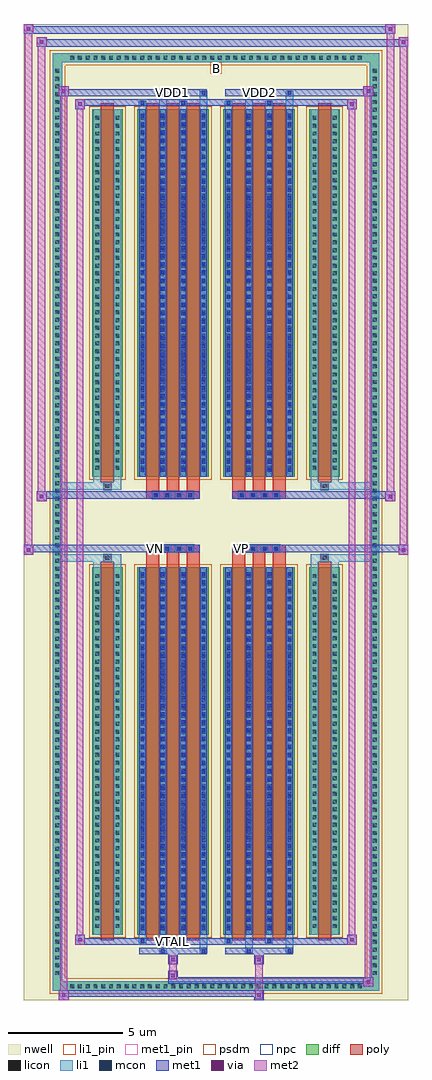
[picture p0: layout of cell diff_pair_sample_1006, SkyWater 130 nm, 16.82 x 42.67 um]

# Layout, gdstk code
import gdstk
lib = gdstk.Library(unit=1e-6, precision=5e-09)
def R(c, l, rs):  # rectangles x0, y0, x1, y1
    for r in rs: c.add(gdstk.rectangle(r[:2], r[2:], *l))
def A(c, l, x, y, w, h, nx, ny, dx, dy):  # array of equal rectangles
    R(c, l, [(x+i*dx, y+j*dy, x+i*dx+w, y+j*dy+h) for i in range(nx) for j in range(ny)])
def P(c, l, *ps):  # polygons
    for p in ps: c.add(gdstk.Polygon(p, *l))
nwell = (64, 20)
diff = (65, 20)
poly = (66, 20)
licon = (66, 44)
li1_pin = (67, 16)
li1 = (67, 20)
mcon = (67, 44)
met1_pin = (68, 16)
met1 = (68, 20)
via = (68, 44)
met2 = (69, 20)
psdm = (94, 20)
npc = (95, 20)

diff_pair_sample_1006 = lib.new_cell('diff_pair_sample_1006')
R(diff_pair_sample_1006, nwell, [(-8.41,-20.9,8.41,21.77), (-5.73,-19.09,-0.01,-0.805), (0.01,-19.09,5.73,-0.805), (-5.73,0.805,-0.01,19.09), (0.01,0.805,5.73,19.09)])
A(diff_pair_sample_1006, diff, -6.495, -20.5, 0.41, 0.41, 38, 2, 0.34, 40.59)
A(diff_pair_sample_1006, diff, -7.14, -19.925, 0.41, 0.41, 1, 117, 0, 0.34)
A(diff_pair_sample_1006, diff, 6.73, -19.925, 0.41, 0.41, 1, 117, 0, 0.34)
R(diff_pair_sample_1006, diff, [(-6.495,-20.5,6.495,-20.09), (-7.14,-19.925,-6.73,19.925), (6.73,-19.925,7.14,19.925), (-5.42,-18.045,-4.08,-1.985), (-3.44,-18.045,-0.32,-1.985), (0.32,-18.045,3.44,-1.985), (4.08,-18.045,5.42,-1.985), (-5.42,1.985,-4.08,18.045), (-3.44,1.985,-0.32,18.045), (0.32,1.985,3.44,18.045), (4.08,1.985,5.42,18.045), (-6.495,20.09,6.495,20.5)])
P(diff_pair_sample_1006, diff, [(7.14,20.5),(-7.14,20.5),(-7.14,-20.09),(-6.73,-20.09),(-6.73,20.09),(6.73,20.09),(6.73,-20.09),(-6.73,-20.09),(-7.14,-20.09),(-7.14,-20.5),(7.14,-20.5)])
A(diff_pair_sample_1006, poly, -3.05, -18.295, 0.56, 16.56, 3, 2, 0.89, 20.03)
A(diff_pair_sample_1006, poly, 0.71, -18.295, 0.56, 16.56, 3, 2, 0.89, 20.03)
A(diff_pair_sample_1006, poly, -3.05, -1.735, 0.56, 0.4, 3, 2, 0.89, 3.07)
A(diff_pair_sample_1006, poly, 0.71, -1.735, 0.56, 0.4, 3, 2, 0.89, 3.07)
A(diff_pair_sample_1006, poly, -2.795, -1.335, 0.33, 0.33, 4, 2, 0.5, 2.34)
A(diff_pair_sample_1006, poly, 0.965, -1.335, 0.33, 0.33, 4, 2, 0.5, 2.34)
R(diff_pair_sample_1006, poly, [(-5.03,-18.295,-4.47,-1.735), (4.47,-18.295,5.03,-1.735), (-4.915,-1.735,-4.585,-1.405), (-4.915,-1.735,-4.585,-1.405), (4.585,-1.735,4.915,-1.405), (4.585,-1.735,4.915,-1.405), (-3.05,-1.335,-0.71,-1.005), (0.71,-1.335,3.05,-1.005), (-3.05,1.005,-0.71,1.335), (0.71,1.005,3.05,1.335), (-4.915,1.405,-4.585,1.735), (-4.915,1.405,-4.585,1.735), (4.585,1.405,4.915,1.735), (4.585,1.405,4.915,1.735), (-5.03,1.735,-4.47,18.295), (4.47,1.735,5.03,18.295)])
A(diff_pair_sample_1006, licon, -6.375, -20.38, 0.17, 0.17, 38, 2, 0.34, 40.59)
A(diff_pair_sample_1006, licon, -7.02, -19.805, 0.17, 0.17, 1, 117, 0, 0.34)
A(diff_pair_sample_1006, licon, 6.85, -19.805, 0.17, 0.17, 1, 117, 0, 0.34)
A(diff_pair_sample_1006, licon, -5.28, -17.75, 0.17, 0.17, 1, 46, 0, 0.34)
A(diff_pair_sample_1006, licon, -4.39, -17.75, 0.17, 0.17, 1, 46, 0, 0.34)
A(diff_pair_sample_1006, licon, -3.3, -17.75, 0.17, 0.17, 4, 46, 0.89, 0.34)
A(diff_pair_sample_1006, licon, 0.46, -17.75, 0.17, 0.17, 4, 46, 0.89, 0.34)
A(diff_pair_sample_1006, licon, 4.22, -17.75, 0.17, 0.17, 1, 46, 0, 0.34)
A(diff_pair_sample_1006, licon, 5.11, -17.75, 0.17, 0.17, 1, 46, 0, 0.34)
A(diff_pair_sample_1006, licon, -2.715, -1.255, 0.17, 0.17, 4, 2, 0.5, 2.34)
A(diff_pair_sample_1006, licon, 1.045, -1.255, 0.17, 0.17, 4, 2, 0.5, 2.34)
A(diff_pair_sample_1006, licon, -5.28, 2.28, 0.17, 0.17, 1, 46, 0, 0.34)
A(diff_pair_sample_1006, licon, -4.39, 2.28, 0.17, 0.17, 1, 46, 0, 0.34)
A(diff_pair_sample_1006, licon, -3.3, 2.28, 0.17, 0.17, 4, 46, 0.89, 0.34)
A(diff_pair_sample_1006, licon, 0.46, 2.28, 0.17, 0.17, 4, 46, 0.89, 0.34)
A(diff_pair_sample_1006, licon, 4.22, 2.28, 0.17, 0.17, 1, 46, 0, 0.34)
A(diff_pair_sample_1006, licon, 5.11, 2.28, 0.17, 0.17, 1, 46, 0, 0.34)
R(diff_pair_sample_1006, licon, [(-4.835,-1.655,-4.665,-1.485), (4.665,-1.655,4.835,-1.485), (-4.835,1.485,-4.665,1.655), (4.665,1.485,4.835,1.655)])
R(diff_pair_sample_1006, li1_pin, [(-0.25,19.59,0.25,20.09)])
A(diff_pair_sample_1006, li1, -6.455, -20.46, 0.33, 0.33, 38, 2, 0.34, 40.59)
A(diff_pair_sample_1006, li1, -7.1, -19.885, 0.33, 0.33, 1, 117, 0, 0.34)
A(diff_pair_sample_1006, li1, 6.77, -19.885, 0.33, 0.33, 1, 117, 0, 0.34)
A(diff_pair_sample_1006, li1, -3.38, -18.045, 0.33, 16.06, 4, 2, 0.89, 20.03)
A(diff_pair_sample_1006, li1, 0.38, -18.045, 0.33, 16.06, 4, 2, 0.89, 20.03)
A(diff_pair_sample_1006, li1, -3.3, -17.84, 0.17, 0.17, 4, 44, 0.89, 0.36)
A(diff_pair_sample_1006, li1, -3.3, -17.84, 0.17, 15.65, 4, 2, 0.89, 20.03)
A(diff_pair_sample_1006, li1, 0.46, -17.84, 0.17, 0.17, 4, 44, 0.89, 0.36)
A(diff_pair_sample_1006, li1, 0.46, -17.84, 0.17, 15.65, 4, 2, 0.89, 20.03)
A(diff_pair_sample_1006, li1, -5.36, -17.83, 0.33, 0.33, 1, 46, 0, 0.34)
A(diff_pair_sample_1006, li1, -4.47, -17.83, 0.33, 0.33, 1, 46, 0, 0.34)
A(diff_pair_sample_1006, li1, -3.38, -17.83, 0.33, 0.33, 4, 46, 0.89, 0.34)
A(diff_pair_sample_1006, li1, 0.38, -17.83, 0.33, 0.33, 4, 46, 0.89, 0.34)
A(diff_pair_sample_1006, li1, 4.14, -17.83, 0.33, 0.33, 1, 46, 0, 0.34)
A(diff_pair_sample_1006, li1, 5.03, -17.83, 0.33, 0.33, 1, 46, 0, 0.34)
A(diff_pair_sample_1006, li1, -2.795, -1.335, 0.33, 0.33, 4, 2, 0.5, 2.34)
A(diff_pair_sample_1006, li1, 0.965, -1.335, 0.33, 0.33, 4, 2, 0.5, 2.34)
A(diff_pair_sample_1006, li1, -3.3, 2.19, 0.17, 0.17, 4, 44, 0.89, 0.36)
A(diff_pair_sample_1006, li1, 0.46, 2.19, 0.17, 0.17, 4, 44, 0.89, 0.36)
A(diff_pair_sample_1006, li1, -5.36, 2.2, 0.33, 0.33, 1, 46, 0, 0.34)
A(diff_pair_sample_1006, li1, -4.47, 2.2, 0.33, 0.33, 1, 46, 0, 0.34)
A(diff_pair_sample_1006, li1, -3.38, 2.2, 0.33, 0.33, 4, 46, 0.89, 0.34)
A(diff_pair_sample_1006, li1, 0.38, 2.2, 0.33, 0.33, 4, 46, 0.89, 0.34)
A(diff_pair_sample_1006, li1, 4.14, 2.2, 0.33, 0.33, 1, 46, 0, 0.34)
A(diff_pair_sample_1006, li1, 5.03, 2.2, 0.33, 0.33, 1, 46, 0, 0.34)
R(diff_pair_sample_1006, li1, [(-7.14,-20.5,-6.73,-20.09), (-7.14,-20.5,-6.73,-20.09), (-6.73,-20.5,6.73,-20.09), (6.73,-20.5,7.14,-20.09), (6.73,-20.5,7.14,-20.09), (-7.14,-20.09,-6.73,20.09), (6.73,-20.09,7.14,20.09), (-2.49,-18.85,-2.16,-18.045), (-2.41,-18.85,-2.24,-18.68), (-0.71,-18.85,-0.38,-18.045), (-0.63,-18.85,-0.46,-18.68), (1.27,-18.85,1.6,-18.045), (1.35,-18.85,1.52,-18.68), (3.05,-18.85,3.38,-18.045), (3.13,-18.85,3.3,-18.68), (-3.38,-18.42,-3.05,-18.045), (-3.3,-18.42,-3.13,-18.25), (-1.6,-18.42,-1.27,-18.045), (-1.52,-18.42,-1.35,-18.25), (0.38,-18.42,0.71,-18.045), (0.46,-18.42,0.63,-18.25), (2.16,-18.42,2.49,-18.045), (2.24,-18.42,2.41,-18.25), (-5.36,-18.045,-5.03,-1.985), (-4.47,-18.045,-4.14,-1.985), (4.14,-18.045,4.47,-1.985), (5.03,-18.045,5.36,-1.985), (-5.36,-1.985,-5.03,-1.405), (-4.47,-1.985,-4.14,-1.405), (4.14,-1.985,4.47,-1.405), (5.03,-1.985,5.36,-1.405), (-7.14,-1.735,-4.915,-1.405), (-5.36,-1.735,-4.915,-1.405), (-4.915,-1.735,-4.585,-1.405), (-4.585,-1.735,-4.14,-1.405), (4.14,-1.735,4.585,-1.405), (4.585,-1.735,4.915,-1.405), (4.585,-1.735,7.14,-1.405), (4.915,-1.735,5.36,-1.405), (-7.14,1.405,-4.915,1.735), (-5.36,1.405,-4.915,1.735), (-5.36,1.405,-5.03,1.985), (-4.915,1.405,-4.585,1.735), (-4.585,1.405,-4.14,1.735), (-4.47,1.405,-4.14,1.985), (4.14,1.405,4.585,1.735), (4.14,1.405,4.47,1.985), (4.585,1.405,4.915,1.735), (4.585,1.405,7.14,1.735), (4.915,1.405,5.36,1.735), (5.03,1.405,5.36,1.985), (-5.36,1.985,-5.03,18.045), (-4.47,1.985,-4.14,18.045), (4.14,1.985,4.47,18.045), (5.03,1.985,5.36,18.045), (-3.38,18.045,-3.05,18.42), (-2.49,18.045,-2.16,18.85), (-1.6,18.045,-1.27,18.42), (-0.71,18.045,-0.38,18.85), (0.38,18.045,0.71,18.42), (1.27,18.045,1.6,18.85), (2.16,18.045,2.49,18.42), (3.05,18.045,3.38,18.85), (-3.3,18.25,-3.13,18.42), (-1.52,18.25,-1.35,18.42), (0.46,18.25,0.63,18.42), (2.24,18.25,2.41,18.42), (-2.41,18.68,-2.24,18.85), (-0.63,18.68,-0.46,18.85), (1.35,18.68,1.52,18.85), (3.13,18.68,3.3,18.85), (-7.14,20.09,-6.73,20.5), (-7.14,20.09,-6.73,20.5), (-6.73,20.09,6.73,20.5), (6.73,20.09,7.14,20.5), (6.73,20.09,7.14,20.5)])
A(diff_pair_sample_1006, mcon, -3.3, -17.84, 0.17, 0.17, 4, 44, 0.89, 0.36)
A(diff_pair_sample_1006, mcon, 0.46, -17.84, 0.17, 0.17, 4, 44, 0.89, 0.36)
A(diff_pair_sample_1006, mcon, -2.715, -1.255, 0.17, 0.17, 4, 2, 0.5, 2.34)
A(diff_pair_sample_1006, mcon, 1.045, -1.255, 0.17, 0.17, 4, 2, 0.5, 2.34)
A(diff_pair_sample_1006, mcon, -3.3, 2.19, 0.17, 0.17, 4, 44, 0.89, 0.36)
A(diff_pair_sample_1006, mcon, 0.46, 2.19, 0.17, 0.17, 4, 44, 0.89, 0.36)
R(diff_pair_sample_1006, mcon, [(-2.41,-18.85,-2.24,-18.68), (-0.63,-18.85,-0.46,-18.68), (1.35,-18.85,1.52,-18.68), (3.13,-18.85,3.3,-18.68), (-3.3,-18.42,-3.13,-18.25), (-1.52,-18.42,-1.35,-18.25), (0.46,-18.42,0.63,-18.25), (2.24,-18.42,2.41,-18.25), (-3.3,18.25,-3.13,18.42), (-1.52,18.25,-1.35,18.42), (0.46,18.25,0.63,18.42), (2.24,18.25,2.41,18.42), (-2.41,18.68,-2.24,18.85), (-0.63,18.68,-0.46,18.85), (1.35,18.68,1.52,18.85), (3.13,18.68,3.3,18.85)])
R(diff_pair_sample_1006, met1_pin, [(-2.015,-18.46,-1.745,-18.19), (-2.765,-1.295,-2.495,-1.025), (0.995,-1.295,1.265,-1.025), (-2.015,18.64,-1.745,18.91), (1.745,18.64,2.015,18.91)])
A(diff_pair_sample_1006, met1, -3.36, -18.045, 0.29, 16.06, 4, 2, 0.89, 20.03)
A(diff_pair_sample_1006, met1, 0.4, -18.045, 0.29, 16.06, 4, 2, 0.89, 20.03)
A(diff_pair_sample_1006, met1, -3.36, -17.9, 0.29, 0.29, 4, 44, 0.89, 0.36)
A(diff_pair_sample_1006, met1, 0.4, -17.9, 0.29, 0.29, 4, 44, 0.89, 0.36)
A(diff_pair_sample_1006, met1, -2.775, -1.315, 0.29, 0.29, 4, 2, 0.5, 2.34)
A(diff_pair_sample_1006, met1, 0.985, -1.315, 0.29, 0.29, 4, 2, 0.5, 2.34)
A(diff_pair_sample_1006, met1, -3.36, 2.13, 0.29, 0.29, 4, 44, 0.89, 0.36)
A(diff_pair_sample_1006, met1, 0.4, 2.13, 0.29, 0.29, 4, 44, 0.89, 0.36)
R(diff_pair_sample_1006, met1, [(-6.87,-20.9,-6.44,-20.47), (1.665,-20.9,2.095,-20.47), (-6.87,-20.76,2.095,-20.47), (6.44,-20.33,6.87,-19.9), (-2.095,-20.19,6.87,-19.9), (-2.095,-20.05,-1.665,-19.62), (-2.095,-19.34,-1.665,-18.91), (1.665,-19.34,2.095,-18.91), (-3.36,-18.91,-0.4,-18.62), (-2.47,-18.91,-2.18,-18.62), (-0.69,-18.91,-0.4,-18.62), (0.4,-18.91,3.36,-18.62), (1.29,-18.91,1.58,-18.62), (3.07,-18.91,3.36,-18.62), (-6.16,-18.48,-5.73,-18.05), (-6.16,-18.48,-3.36,-18.19), (-3.36,-18.48,-3.07,-18.19), (-3.36,-18.48,-0.4,-18.19), (-1.58,-18.48,-1.29,-18.19), (-0.4,-18.48,0.4,-18.19), (0.4,-18.48,0.69,-18.19), (0.4,-18.48,3.36,-18.19), (2.18,-18.48,2.47,-18.19), (3.36,-18.48,6.16,-18.19), (5.73,-18.48,6.16,-18.05), (-8.41,-1.435,-7.98,-1.005), (7.98,-1.435,8.41,-1.005), (-8.41,-1.335,-0.71,-1.005), (-3.05,-1.335,-0.71,-1.005), (0.71,-1.335,3.05,-1.005), (0.71,-1.335,8.41,-1.005), (-7.84,0.905,-7.41,1.335), (7.41,0.905,7.84,1.335), (-7.84,1.005,-3.05,1.335), (-3.05,1.005,-0.71,1.335), (0.71,1.005,3.05,1.335), (3.05,1.005,7.84,1.335), (-6.16,18.05,-5.73,18.48), (5.73,18.05,6.16,18.48), (-6.16,18.19,-3.36,18.48), (-3.36,18.19,-3.07,18.48), (-3.36,18.19,-0.4,18.48), (-1.58,18.19,-1.29,18.48), (-0.4,18.19,0.4,18.48), (0.4,18.19,0.69,18.48), (0.4,18.19,3.36,18.48), (2.18,18.19,2.47,18.48), (3.36,18.19,6.16,18.48), (-6.87,18.62,-6.44,19.05), (-6.87,18.62,-3.36,18.91), (-3.36,18.62,-0.4,18.91), (-2.47,18.62,-2.18,18.91), (-0.69,18.62,-0.4,18.91), (0.4,18.62,3.36,18.91), (1.29,18.62,1.58,18.91), (3.07,18.62,3.36,18.91), (3.36,18.62,6.87,18.91), (6.44,18.62,6.87,19.05), (-7.84,20.77,-7.41,21.2), (-7.84,20.77,-5.73,21.1), (-5.73,20.77,5.73,21.1), (5.73,20.77,8.41,21.1), (7.98,20.77,8.41,21.2), (-8.41,21.34,-7.98,21.77), (-8.41,21.34,-5.73,21.67), (-5.73,21.34,5.73,21.67), (5.73,21.34,7.84,21.67), (7.41,21.34,7.84,21.77)])
R(diff_pair_sample_1006, via, [(-6.73,-20.76,-6.58,-20.61), (1.805,-20.76,1.955,-20.61), (6.58,-20.19,6.73,-20.04), (-1.955,-19.91,-1.805,-19.76), (-1.955,-19.2,-1.805,-19.05), (1.805,-19.2,1.955,-19.05), (-6.02,-18.34,-5.87,-18.19), (5.87,-18.34,6.02,-18.19), (-8.27,-1.295,-8.12,-1.145), (8.12,-1.295,8.27,-1.145), (-7.7,1.045,-7.55,1.195), (7.55,1.045,7.7,1.195), (-6.02,18.19,-5.87,18.34), (5.87,18.19,6.02,18.34), (-6.73,18.76,-6.58,18.91), (6.58,18.76,6.73,18.91), (-7.7,20.91,-7.55,21.06), (8.12,20.91,8.27,21.06), (-8.27,21.48,-8.12,21.63), (7.55,21.48,7.7,21.63)])
R(diff_pair_sample_1006, met2, [(-6.87,-20.9,-6.44,-20.47), (-6.8,-20.9,-6.51,19.05), (-6.51,-20.9,-6.44,-20.47), (-6.82,-20.85,-6.49,-20.52), (1.715,-20.85,2.045,-20.52), (1.715,-20.52,2.045,-19.29), (6.44,-20.33,6.87,-19.9), (6.51,-20.33,6.8,19.05), (6.8,-20.33,6.87,-19.9), (6.49,-20.28,6.82,-19.95), (-2.045,-20,-1.715,-19.67), (-2.045,-19.67,-1.715,-19.29), (-2.045,-19.29,-1.715,-18.96), (1.715,-19.29,2.045,-18.96), (-6.16,-18.48,-5.73,-18.05), (-6.09,-18.48,-5.8,18.48), (-5.8,-18.48,-5.73,-18.05), (5.73,-18.48,6.16,-18.05), (5.8,-18.48,6.09,18.48), (6.09,-18.48,6.16,-18.05), (-6.11,-18.43,-5.78,-18.1), (5.78,-18.43,6.11,-18.1), (-8.41,-1.435,-7.98,-1.005), (-8.36,-1.435,-8.03,21.77), (-8.03,-1.435,-7.98,-1.005), (7.98,-1.435,8.41,-1.005), (8.03,-1.435,8.36,21.2), (8.36,-1.435,8.41,-1.005), (-8.36,-1.385,-8.03,-1.055), (8.03,-1.385,8.36,-1.055), (-7.84,0.905,-7.41,1.335), (-7.79,0.905,-7.46,21.2), (-7.46,0.905,-7.41,1.335), (7.41,0.905,7.84,1.335), (7.46,0.905,7.79,21.77), (7.79,0.905,7.84,1.335), (-7.79,0.955,-7.46,1.285), (7.46,0.955,7.79,1.285), (-6.16,18.05,-5.73,18.48), (-5.8,18.05,-5.73,18.48), (5.73,18.05,6.16,18.48), (6.09,18.05,6.16,18.48), (-6.11,18.1,-5.78,18.43), (5.78,18.1,6.11,18.43), (-6.87,18.62,-6.44,19.05), (-6.51,18.62,-6.44,19.05), (6.44,18.62,6.87,19.05), (6.8,18.62,6.87,19.05), (-6.82,18.67,-6.49,19), (6.49,18.67,6.82,19), (-7.84,20.77,-7.41,21.2), (-7.46,20.77,-7.41,21.2), (7.98,20.77,8.41,21.2), (8.36,20.77,8.41,21.2), (-7.79,20.82,-7.46,21.15), (8.03,20.82,8.36,21.15), (-8.41,21.34,-7.98,21.77), (-8.03,21.34,-7.98,21.77), (7.41,21.34,7.84,21.77), (7.79,21.34,7.84,21.77), (-8.36,21.39,-8.03,21.72), (7.46,21.39,7.79,21.72)])
R(diff_pair_sample_1006, psdm, [(-5.55,-18.175,-3.95,-1.855), (-3.57,-18.175,-0.19,-1.855), (0.19,-18.175,3.57,-1.855), (3.95,-18.175,5.55,-1.855), (-5.55,1.855,-3.95,18.175), (-3.57,1.855,-0.19,18.175), (0.19,1.855,3.57,18.175), (3.95,1.855,5.55,18.175)])
P(diff_pair_sample_1006, psdm, [(7.27,20.63),(-7.27,20.63),(-7.27,-19.96),(-6.6,-19.96),(-6.6,19.96),(6.6,19.96),(6.6,-19.96),(-6.6,-19.96),(-7.27,-19.96),(-7.27,-20.63),(7.27,-20.63)])
A(diff_pair_sample_1006, npc, -2.815, -1.355, 0.37, 0.37, 4, 2, 0.5, 2.34)
A(diff_pair_sample_1006, npc, 0.945, -1.355, 0.37, 0.37, 4, 2, 0.5, 2.34)
R(diff_pair_sample_1006, npc, [(-4.935,-1.755,-4.565,-1.385), (4.565,-1.755,4.935,-1.385), (-2.815,-1.355,-1.945,-0.985), (-2.815,-1.355,-1.945,-0.985), (-2.315,-1.355,-1.445,-0.985), (-2.315,-1.355,-1.445,-0.985), (-1.815,-1.355,-0.945,-0.985), (-1.815,-1.355,-0.945,-0.985), (0.945,-1.355,1.815,-0.985), (0.945,-1.355,1.815,-0.985), (1.445,-1.355,2.315,-0.985), (1.445,-1.355,2.315,-0.985), (1.945,-1.355,2.815,-0.985), (1.945,-1.355,2.815,-0.985), (-2.815,0.985,-1.945,1.355), (-2.815,0.985,-1.945,1.355), (-2.315,0.985,-1.445,1.355), (-2.315,0.985,-1.445,1.355), (-1.815,0.985,-0.945,1.355), (-1.815,0.985,-0.945,1.355), (0.945,0.985,1.815,1.355), (0.945,0.985,1.815,1.355), (1.445,0.985,2.315,1.355), (1.445,0.985,2.315,1.355), (1.945,0.985,2.815,1.355), (1.945,0.985,2.815,1.355), (-4.935,1.385,-4.565,1.755), (4.565,1.385,4.935,1.755)])
diff_pair_sample_1006.add(gdstk.Label('VTAIL', (-1.88,-18.325), layer=68, texttype=5))
diff_pair_sample_1006.add(gdstk.Label('VN', (-2.63,-1.16), layer=68, texttype=5))
diff_pair_sample_1006.add(gdstk.Label('VP', (1.13,-1.16), layer=68, texttype=5))
diff_pair_sample_1006.add(gdstk.Label('B', (0,19.84), layer=67, texttype=5))
diff_pair_sample_1006.add(gdstk.Label('VDD2', (1.88,18.775), layer=68, texttype=5))
diff_pair_sample_1006.add(gdstk.Label('VDD1', (-1.88,18.775), layer=68, texttype=5))

lib.write_gds('diff_pair_sample_1006.gds')
